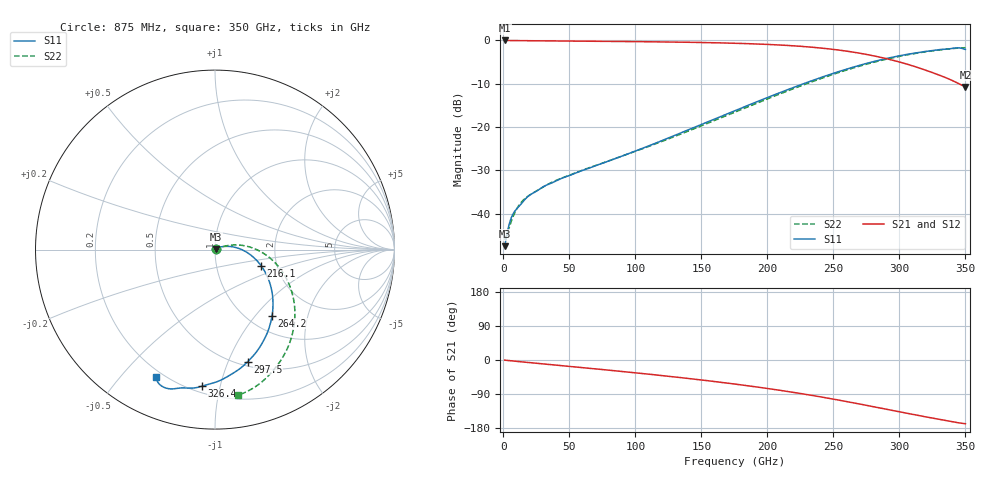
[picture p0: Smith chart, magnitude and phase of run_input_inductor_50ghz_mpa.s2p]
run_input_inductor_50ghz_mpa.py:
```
import os
import sys
sys.path.insert(0, os.path.abspath(os.path.join(os.path.dirname(__file__), 'modules')))

import modules.util_stackup_reader as stackup_reader
import util_gds_reader as gds_reader
import util_utilities as utilities
import util_simulation_setup as simulation_setup
import util_meshlines

import os
from pylab import *
from CSXCAD import ContinuousStructure
from CSXCAD import AppCSXCAD_BIN
from openEMS import openEMS
from openEMS.physical_constants import *

# Model comments


# ======================== workflow settings ================================

# preview model/mesh only?
# postprocess existing data without re-running simulation?
preview_only = True
postprocess_only = False

# ===================== input files and path settings =======================

# GDS filename
gds_filename = "../layout_gds/inductor_input.gds"      # geometries
XML_filename = "SG13G2.xml"       # stackup

# preprocess GDSII for safe handling of cutouts/holes?
preprocess_gds = False

# merge polygons with distance less than xxx um, or set to 0 to disable via array merging
merge_polygon_size = 0.5

# get path for this simulation file
script_path = utilities.get_script_path(__file__)

# use script filename as model basename
model_basename = utilities.get_basename(__file__)

# set and create directory for simulation output
sim_path = utilities.create_sim_path (script_path,model_basename)
print('Simulation data directory: ', sim_path)


# ======================== simulation settings ================================

unit   = 1e-6   # geometry is in microns
margin = 50    # distance in microns from GDSII geometry boundary to simulation boundary 

fstart = 0
fstop  = 350e9
numfreq = 401

refined_cellsize = 0.2  # mesh cell size in conductor region

# choices for boundary xmin,xmax,ymin,ymax,zmin,zmax: 
# 'PEC' : perfect electric conductor (default)
# 'PMC' : perfect magnetic conductor, useful for symmetries
# 'MUR' : simple MUR absorbing boundary conditions
# 'PML_8' : PML absorbing boundary conditions
Boundaries = ['PEC', 'PEC', 'PEC', 'PEC', 'PEC', 'PEC']

cells_per_wavelength = 20   # how many mesh cells per wavelength, must be 10 or more
energy_limit = -50          # end criteria for residual energy (dB)

# ports from GDSII Data, polygon geometry from specified special layer
# note that for multiport simulation, excitations are switched on/off in simulation_setup.createSimulation below
simulation_ports = simulation_setup.all_simulation_ports()
# instead of in-plane port specified with target_layername, we here use via port specified with from_layername and to_layername. GND means bottom of simulation box
simulation_ports.add_port(simulation_setup.simulation_port(portnumber=1, voltage=1, port_Z0=50, source_layernum=201, from_layername='Metal3', to_layername='TopMetal2', direction='z'))
simulation_ports.add_port(simulation_setup.simulation_port(portnumber=2, voltage=1, port_Z0=50, source_layernum=202, from_layername='Metal3', to_layername='TopMetal2', direction='z'))



# ======================== simulation ================================

# get technology stackup data
materials_list, dielectrics_list, metals_list = stackup_reader.read_substrate (XML_filename)
# get list of layers from technology
layernumbers = metals_list.getlayernumbers()
layernumbers.extend(simulation_ports.portlayers)

# read geometries from GDSII, only purpose 0
allpolygons = gds_reader.read_gds(gds_filename, layernumbers, purposelist=[0], metals_list=metals_list, preprocess=preprocess_gds, merge_polygon_size=merge_polygon_size)


# calculate maximum cellsize from wavelength in dielectric
wavelength_air = 3e8/fstop
max_cellsize = (wavelength_air/unit)/(sqrt(materials_list.eps_max)*cells_per_wavelength) 


########### create model, run and post-process ###########



excite_ports_list = [[1],[2]]  # list of ports that are excited in the different excitation runs
for excite_ports in excite_ports_list:
    # define excitation and stop criteria and boundaries
    FDTD = openEMS(EndCriteria=exp(energy_limit/10 * log(10)))
    FDTD.SetGaussExcite( (fstart+fstop)/2, (fstop-fstart)/2 )
    FDTD.SetBoundaryCond( Boundaries )
    FDTD = simulation_setup.setupSimulation (excite_ports, simulation_ports, FDTD, materials_list, dielectrics_list, metals_list, allpolygons, max_cellsize, refined_cellsize, margin, unit, xy_mesh_function=util_meshlines.create_xy_mesh_from_polygons)
    simulation_setup.runSimulation (excite_ports, FDTD, sim_path, model_basename, preview_only, postprocess_only)


if preview_only==False:

    print('Begin data evaluation')

    # define dB function for S-parameters
    def dB(value):
        return 20.0*np.log10(np.abs(value))        

    # define phase function for S-parameters
    def phase(value):
        return angle(value, deg=True) 

    f = np.linspace(fstart,fstop,numfreq)

    # get results, CSX port definition is read from simulation ports object
    # all S-parameter data is available because we have simulated all port excitations
    s11 = utilities.calculate_Sij (1, 1, f, sim_path, simulation_ports)
    s21 = utilities.calculate_Sij (2, 1, f, sim_path, simulation_ports)
    s12 = utilities.calculate_Sij (1, 2, f, sim_path, simulation_ports)
    s22 = utilities.calculate_Sij (2, 2, f, sim_path, simulation_ports)






    s2p_name = os.path.join(sim_path, model_basename + '.s2p')
    utilities.write_snp (np.array([[s11,s21], [s12,s22]]),f, s2p_name)

    print('\nStarting plots')

    figure()
    plot(f/1e9, dB(s21), 'k-',  linewidth=2, label='S11 [dB]')
    grid()
    legend()
    xlabel('Frequency (GHz)')

    figure()
    plot(f/1e9, phase(s21), 'k-',  linewidth=2, label='S11 phase [degree]')
    grid()
    legend()
    xlabel('Frequency (GHz)')


    # Show all plots
    show()
```
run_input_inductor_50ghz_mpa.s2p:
#  Hz  S  RI  R  50
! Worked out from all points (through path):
!   400 points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, 875 MHz to 350 GHz, reference 50 ohm
!   highest |S21| = -0.04 dB at 875 MHz (marker M1); lowest = -10.8 dB at 350 GHz (marker M2)
!   group delay of S21, straight-line fit = 1.33 ps
!   lowest |S11| = -47.5 dB at 875 MHz (marker M3), VSWR 1.01, Z = 50.4 + j0.114 ohm
!   |S11| at or under -10 dB: start of sweep to 227.5 GHz
!   |S22| runs from -46.0 to -1.7 dB; largest |S21 - S12| = 0.0063
!   S11 on the Smith chart (normalised r, x): 875 MHz: 1.01, +0.00; 216.1 GHz: 1.65, -0.32; 264.2 GHz: 1.27, -1.23; 297.5 GHz: 0.55, -1.18; 326.4 GHz: 0.24, -0.88; 350 GHz: 0.17, -0.63
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8.75e8  0.00407 0.00113  0.9949 -0.00566  0.9958 -0.00601  0.00495 0.000816
7.875e9  0.00811 0.00635  0.9912 -0.0497  0.9904 -0.0496  0.00738 0.00634
1.575e10  0.0111 0.00898  0.984 -0.095  0.9845 -0.095  0.0116 0.00906
2.975e10  0.0167 0.0115  0.9695 -0.1733  0.9693 -0.1733  0.0167 0.0114
1.05e11  0.0537 0.0177  0.7832 -0.5608  0.7831 -0.5608  0.0525 0.0191
1.75875e11  0.1551 -0.00293  0.4089 -0.8279  0.4087 -0.8276  0.1477 0.0241
2.16125e11  0.2569 -0.09  0.0987 -0.8644  0.0985 -0.8643  0.263 -0.0163
2.6425e11  0.3183 -0.3675  -0.2795 -0.6773  -0.2804 -0.677  0.4223 -0.2178
2.975e11  0.1826 -0.6239  -0.4063 -0.4069  -0.4071 -0.4057  0.4297 -0.4755
3.26375e11  -0.0745 -0.7618  -0.3749 -0.1818  -0.3751 -0.1799  0.304 -0.6964
3.5e11  -0.3264 -0.7113  -0.2831 -0.0592  -0.28 -0.0536  0.1308 -0.8111
